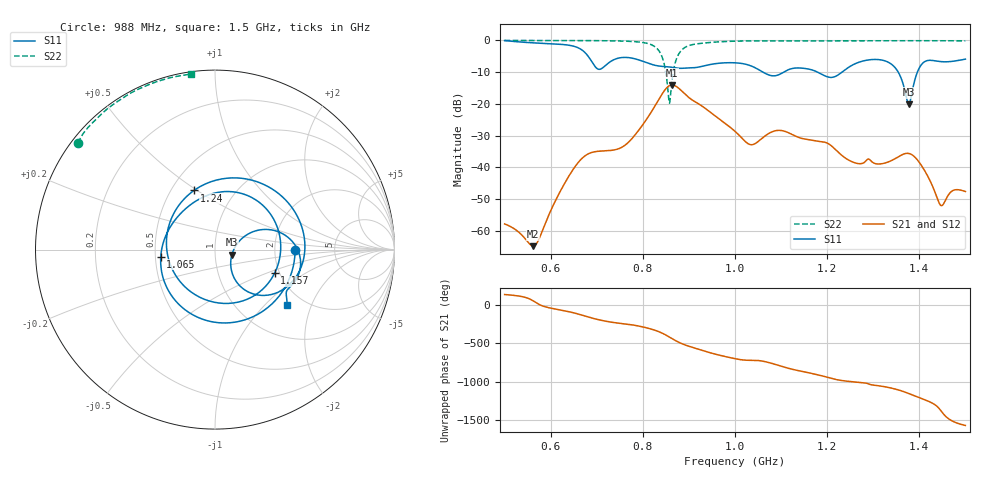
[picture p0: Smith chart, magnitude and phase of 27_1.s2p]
! TOUCHSTONE file generated by CST MICROWAVE STUDIO
! Date and time: Sat Nov 14 20:39:11 2020
! Project name: Scenario_1_Planar_Body_Tissue_Out_of_Line_v2.cst
! Parameters = {dy1=-103.8; L_HA=400; Ltissue=700; MT=2.54; Rad_Dielectric=30; Rad_Lower=7.3; Rad_Upper=30; Wtissue=700; a_HA=580; a_WG=246; b_HA=500; b_WG=121; c_HA=0; c_WG=187; d_feed=85; dx1=173; h_feed=15; h_lower=18; h_upper=40; hfat=3; hgap=25; hmuscle=50; hskin=1.5}
! Header version: 2018
! Port assignment regex: !\s*Touchstone port\s*([0-9]+)\s*=\s*(CST MWS port|CST DS port)\s*([0-9]+|Zmin|Zmax)\s*\(\"(.*)\"\)(\s*mode\s*([0-9]+))?.*
! Touchstone port assignment:
! Touchstone port 1 = CST MWS port 1 ("")
! Touchstone port 2 = CST MWS port 2 ("")
# GHz S DB R 50
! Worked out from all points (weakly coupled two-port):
!   1003 points, 500 MHz to 1.5 GHz, reference 50 ohm
!   highest |S21| = -14.04 dB at 863 MHz (marker M1); lowest = -64.8 dB at 562 MHz (marker M2)
!   lowest |S11| = -20.2 dB at 1.377 GHz (marker M3), VSWR 1.22, Z = 60.3 - j3.49 ohm
!   |S11| at or under -10 dB: 1.061 GHz to 1.105 GHz (44.52 MHz wide, 4.11 % of centre); 1.179 GHz to 1.232 GHz (52.72 MHz wide, 4.37 % of centre); 1.354 GHz to 1.396 GHz (41.44 MHz wide, 3.01 % of centre)
!   |S22| runs from -19.8 to 0.0 dB; largest |S21 - S12| = 1.1e-05
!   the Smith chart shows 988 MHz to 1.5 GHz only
!   S11 on the Smith chart (normalised r, x): 988 MHz: 2.61, -0.03; 1.065 GHz: 0.53, -0.05; 1.157 GHz: 1.88, -0.57; 1.24 GHz: 0.65, +0.49; 1.5 GHz: 1.64, -1.37
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0.5  -0.04 -121.7  -57.77 131.4  -57.77 131.4  -0.01 151.2
0.562  -0.76 -146.5  -64.79 49.0  -64.78 49.0  -0.01 146.9
0.63  -1.33 166.5  -45.07 -79.3  -45.07 -79.3  -0.03 141.7
0.667  -2.92 109.1  -37.27 -134.5  -37.27 -134.5  -0.04 138.4
0.693  -7.53 22.3  -35.13 -179.4  -35.13 -179.4  -0.06 135.7
0.717  -8.13 -94.9  -34.77 147.8  -34.78 147.8  -0.09 132.7
0.756  -5.37 166.9  -33.51 113.2  -33.51 113.2  -0.20 126.3
0.834  -8.04 14.3  -18.75 10.4  -18.75 10.4  -3.09 83.2
0.863  -8.46 -63.8  -14.04 -80.6  -14.04 -80.6  -12.90 -122.7
0.909  -8.60 170.9  -18.93 162.5  -18.93 162.5  -1.28 161.7
0.947  -7.55 83.0  -22.67 93.2  -22.67 93.2  -0.62 149.6
0.988  -7.01 -0.6  -27.17 33.2  -27.17 33.2  -0.28 142.2
1  -7.04 -23.9  -28.62 18.0  -28.62 18.0  -0.23 140.4
1.065  -10.32 -172.7  -30.10 -20.4  -30.10 -20.4  -0.15 132.8
1.112  -9.48 73.8  -28.83 -100.6  -28.83 -100.6  -0.12 128.6
1.157  -8.95 -21.7  -31.16 -161.1  -31.16 -161.1  -0.11 124.9
1.167  -9.28 -42.0  -31.41 -174.5  -31.41 -174.5  -0.11 124.1
1.24  -9.13 109.6  -37.08 87.7  -37.08 87.7  -0.08 118.7
1.334  -6.96 -28.1  -38.19 2.8  -38.19 2.8  -0.08 111.6
1.377  -20.15 -17.0  -35.59 -74.4  -35.59 -74.4  -0.09 108.2
1.447  -6.67 -27.4  -51.99 61.0  -51.99 61.0  -0.10 102.5
1.5  -5.89 -37.6  -47.57 -129.7  -47.57 -129.8  -0.12 97.9
